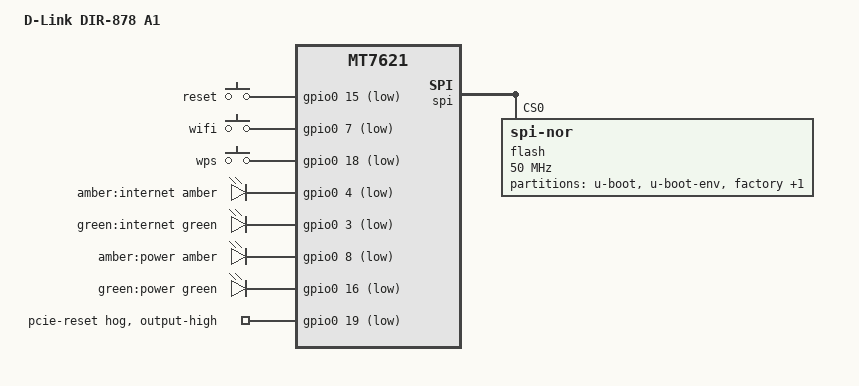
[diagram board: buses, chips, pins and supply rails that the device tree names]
// SPDX-License-Identifier: GPL-2.0-or-later

/dts-v1/;

#include "mt7621.dtsi"

#include <dt-bindings/gpio/gpio.h>
#include <dt-bindings/input/input.h>
#include <dt-bindings/leds/common.h>

/ {
	compatible = "dlink,dir-878-a1", "mediatek,mt7621-soc";
	model = "D-Link DIR-878 A1";

	aliases {
		button-boot1 = &key_reset;
		button-boot2 = &key_wps;
		led-status1 = &led_green;
		led-status2 = &led_amber;
		serial0 = &uart0;
		spi0 = &spi;
	};

	chosen {
		stdout-path = &uart0;
	};

	config {
		button-reset-env;
	};

	gpio-keys {
		compatible = "gpio-keys";

		key_reset: reset {
			label = "reset";
			gpios = <&gpio0 15 GPIO_ACTIVE_LOW>;
			linux,code = <KEY_RESTART>;
		};

		wifi {
			label = "wifi";
			gpios = <&gpio0 7 GPIO_ACTIVE_LOW>;
			linux,code = <KEY_RFKILL>;
		};

		key_wps: wps {
			label = "wps";
			gpios = <&gpio0 18 GPIO_ACTIVE_LOW>;
			linux,code = <KEY_WPS_BUTTON>;
		};
	};

	gpio-leds {
		compatible = "gpio-leds";

		led-internet_amber {
			label = "amber:internet";
			color = <LED_COLOR_ID_AMBER>;
			function = "internet";
			gpios = <&gpio0 4 GPIO_ACTIVE_LOW>;
			default-state = "off";
		};

		led-internet_green {
			label = "green:internet";
			color = <LED_COLOR_ID_GREEN>;
			function = "internet";
			gpios = <&gpio0 3 GPIO_ACTIVE_LOW>;
			default-state = "off";
		};

		led_amber: led-power_amber {
			label = "amber:power";
			color = <LED_COLOR_ID_AMBER>;
			function = LED_FUNCTION_POWER;
			gpios = <&gpio0 8 GPIO_ACTIVE_LOW>;
			default-state = "off";
		};

		led_green: led-power_green {
			label = "green:power";
			color = <LED_COLOR_ID_GREEN>;
			function = LED_FUNCTION_POWER;
			gpios = <&gpio0 16 GPIO_ACTIVE_LOW>;
			default-state = "on";
		};
	};
};

&gpio0 {
	pcie-reset {
		gpio-hog;
		gpios = <19 GPIO_ACTIVE_LOW>;
		output-high;
	};
};

&spi {
	status = "okay";

	flash@0 {
		compatible = "jedec,spi-nor";
		reg = <0>;
		spi-max-frequency = <50000000>;

		partitions {
			compatible = "fixed-partitions";
			#address-cells = <1>;
			#size-cells = <1>;

			partition@0 {
				label = "u-boot";
				reg = <0x000000 0x030000>;
			};

			partition@30000 {
				label = "u-boot-env";
				reg = <0x030000 0x010000>;
			};

			partition@40000 {
				label = "factory";
				reg = <0x040000 0x020000>;
			};

			partition@60000 {
				label = "firmware";
				reg = <0x060000 0xfa0000>;
			};
		};
	};
};

&state_default {
	/delete-node/ rgmii2-gpio_pins;
	/delete-node/ spi-nand_pins;
	/delete-node/ sdxc-nand_pins;
};
